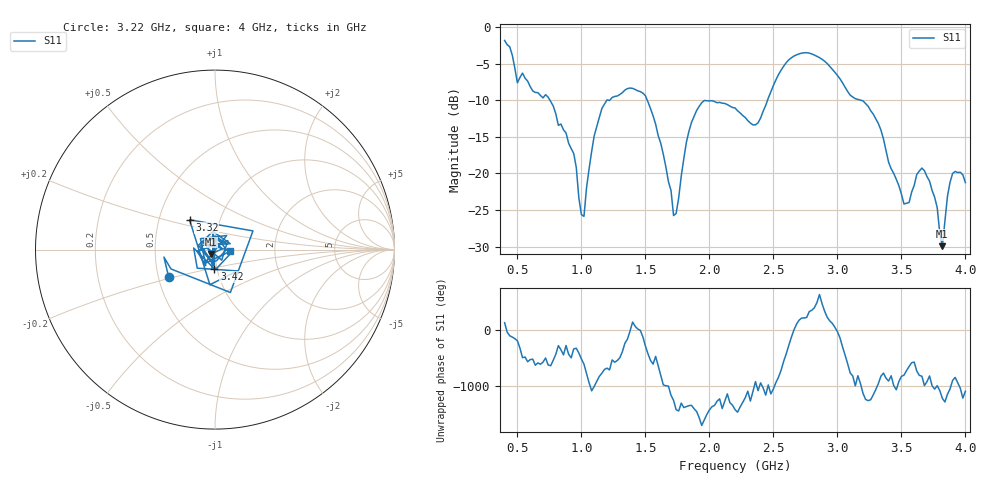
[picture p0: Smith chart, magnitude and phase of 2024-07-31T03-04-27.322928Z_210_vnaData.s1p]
!Created with skrf (http://scikit-rf.org).
# Hz S RI R 50.0
!freq ReS11 ImS11
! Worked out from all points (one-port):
!   181 points, 400 MHz to 4 GHz, reference 50 ohm
!   lowest |S11| = -29.9 dB at 3.82 GHz (marker M1), VSWR 1.07, Z = 47.9 - j2.33 ohm
!   |S11| at or under -10 dB: 753.9 MHz to 1.199 GHz (444.8 MHz wide, 45.6 % of centre); 1.514 GHz to 2.454 GHz (939.8 MHz wide, 47.4 % of centre); 3.178 GHz to end of sweep (the widest 3 of 4)
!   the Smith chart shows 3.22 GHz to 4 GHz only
!   S11 on the Smith chart (normalised r, x): 3.22 GHz: 0.57, -0.19; 3.32 GHz: 0.72, +0.25; 3.42 GHz: 0.97, -0.21; 4 GHz: 1.19, -0.02
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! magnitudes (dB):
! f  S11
! 400 MHz  -1.8
! 500 MHz  -7.6
! 740 MHz  -9.6
! 860 MHz  -14.0
! 940 MHz  -17.3
! 1.02 GHz  -25.9
! 1.1 GHz  -14.9
! 1.16 GHz  -11.1
! 1.3 GHz  -9.2
! 1.5 GHz  -9.4
! 1.62 GHz  -15.9
! 1.72 GHz  -25.8
! 1.76 GHz  -23.4
! 1.82 GHz  -15.8
! 1.92 GHz  -10.8
! 2.2 GHz  -11.1
! 2.38 GHz  -13.1
! 2.66 GHz  -4.0
! 3.1 GHz  -9.3
! 3.22 GHz  -10.5
! 3.32 GHz  -13.2
! 3.42 GHz  -19.4
! 3.56 GHz  -24.0
! 3.68 GHz  -19.6
! 3.78 GHz  -24.7
! 3.82 GHz  -29.9
! 3.9 GHz  -20.0
! 4 GHz  -21.3
